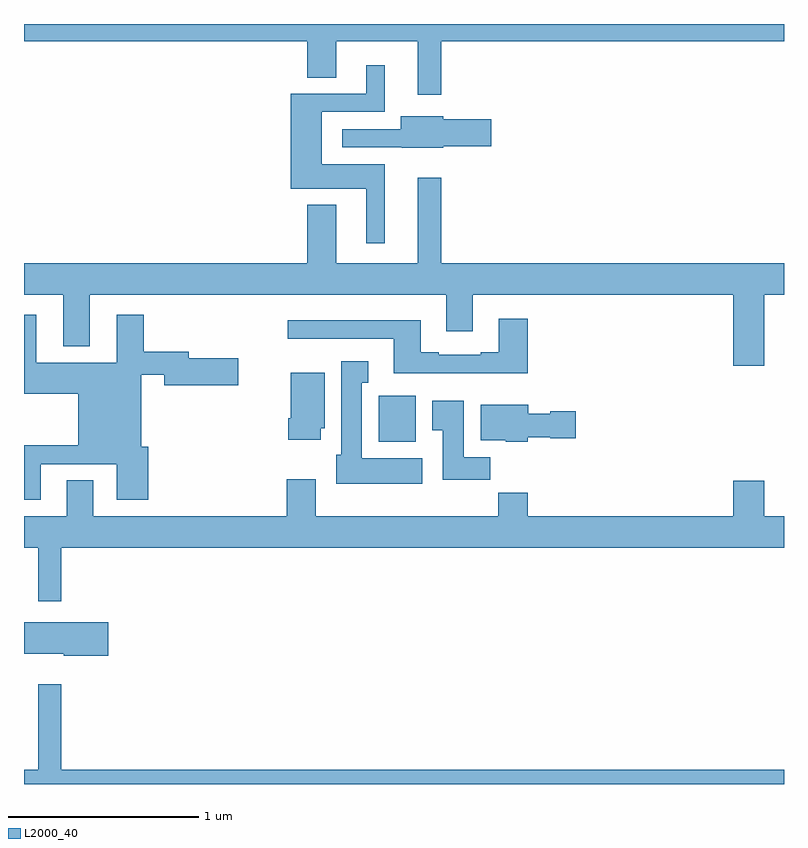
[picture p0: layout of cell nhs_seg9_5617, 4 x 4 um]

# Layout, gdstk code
import gdstk
lib = gdstk.Library(unit=1e-6, precision=1e-09)
def R(c, l, rs):  # rectangles x0, y0, x1, y1
    for r in rs: c.add(gdstk.rectangle(r[:2], r[2:], *l))
def P(c, l, *ps):  # polygons
    for p in ps: c.add(gdstk.Polygon(p, *l))
L2000_40 = (2000, 40)

nhs_seg9_5617 = lib.new_cell('nhs_seg9_5617')
R(nhs_seg9_5617, L2000_40, [(438.866,1206.302,439.063,1206.544)])
P(nhs_seg9_5617, L2000_40, [(439.195,1208.408),(441,1208.408),(441,1208.5),(437,1208.5),(437,1208.408),(438.491,1208.408),(438.491,1208.218),(438.643,1208.218),(438.643,1208.408),(439.073,1208.408),(439.073,1208.127),(439.195,1208.127)],
  [(438.898,1207.762),(438.568,1207.762),(438.568,1208.037),(438.898,1208.037),(438.898,1208.284),(438.8,1208.284),(438.8,1208.133),(438.404,1208.133),(438.404,1207.634),(438.8,1207.634),(438.8,1207.347),(438.898,1207.347)],
  [(439.206,1207.856),(439.459,1207.856),(439.459,1207.998),(439.206,1207.998),(439.206,1208.014),(438.983,1208.014),(438.983,1207.947),(438.675,1207.947),(438.675,1207.851),(438.987,1207.851),(438.987,1207.85),(439.206,1207.85)],
  [(440.896,1207.076),(441,1207.076),(441,1207.24),(439.195,1207.24),(439.195,1207.69),(439.073,1207.69),(439.073,1207.24),(438.643,1207.24),(438.643,1207.549),(438.491,1207.549),(438.491,1207.24),(437,1207.24),(437,1207.076),(437.207,1207.076),(437.207,1206.803),(437.347,1206.803),(437.347,1207.076),(439.223,1207.076),(439.223,1206.882),(439.363,1206.882),(439.363,1207.076),(440.732,1207.076),(440.732,1206.702),(440.896,1206.702)],
  [(437.089,1206.183),(437.489,1206.183),(437.489,1205.997),(437.654,1205.997),(437.654,1206.276),(437.617,1206.276),(437.617,1206.654),(437.738,1206.654),(437.738,1206.599),(438.127,1206.599),(438.127,1206.741),(437.866,1206.741),(437.866,1206.775),(437.63,1206.775),(437.63,1206.97),(437.489,1206.97),(437.489,1206.718),(437.065,1206.718),(437.065,1206.97),(437,1206.97),(437,1206.554),(437.285,1206.554),(437.285,1206.284),(437,1206.284),(437,1205.997),(437.089,1205.997)],
  [(439.652,1206.949),(439.499,1206.949),(439.499,1206.772),(439.403,1206.772),(439.403,1206.759),(439.183,1206.759),(439.183,1206.772),(439.087,1206.772),(439.087,1206.94),(438.387,1206.94),(438.387,1206.843),(438.947,1206.843),(438.947,1206.662),(439.652,1206.662)],
  [(439.096,1206.214),(438.778,1206.214),(438.778,1206.611),(438.811,1206.611),(438.811,1206.724),(438.671,1206.724),(438.671,1206.234),(438.644,1206.234),(438.644,1206.08),(439.096,1206.08)],
  [(438.562,1206.372),(438.583,1206.372),(438.583,1206.664),(438.404,1206.664),(438.404,1206.424),(438.392,1206.424),(438.392,1206.312),(438.562,1206.312)],
  [(439.454,1206.22),(439.315,1206.22),(439.315,1206.517),(439.148,1206.517),(439.148,1206.361),(439.205,1206.361),(439.205,1206.102),(439.454,1206.102)],
  [(439.65,1206.326),(439.77,1206.326),(439.77,1206.319),(439.903,1206.319),(439.903,1206.461),(439.77,1206.461),(439.77,1206.448),(439.654,1206.448),(439.654,1206.496),(439.403,1206.496),(439.403,1206.308),(439.536,1206.308),(439.536,1206.302),(439.65,1206.302)],
  [(437.197,1205.744),(441,1205.744),(441,1205.908),(440.896,1205.908),(440.896,1206.097),(440.732,1206.097),(440.732,1205.908),(439.652,1205.908),(439.652,1206.032),(439.495,1206.032),(439.495,1205.908),(438.535,1205.908),(438.535,1206.103),(438.383,1206.103),(438.383,1205.908),(437.365,1205.908),(437.365,1206.098),(437.225,1206.098),(437.225,1205.908),(437,1205.908),(437,1205.744),(437.075,1205.744),(437.075,1205.463),(437.197,1205.463)],
  [(437.443,1205.352),(437,1205.352),(437,1205.186),(437.208,1205.186),(437.208,1205.174),(437.443,1205.174)],
  [(441,1204.576),(437.197,1204.576),(437.197,1205.026),(437.075,1205.026),(437.075,1204.576),(437,1204.576),(437,1204.5),(441,1204.5)])

lib.write_gds('nhs_seg9_5617.gds')
